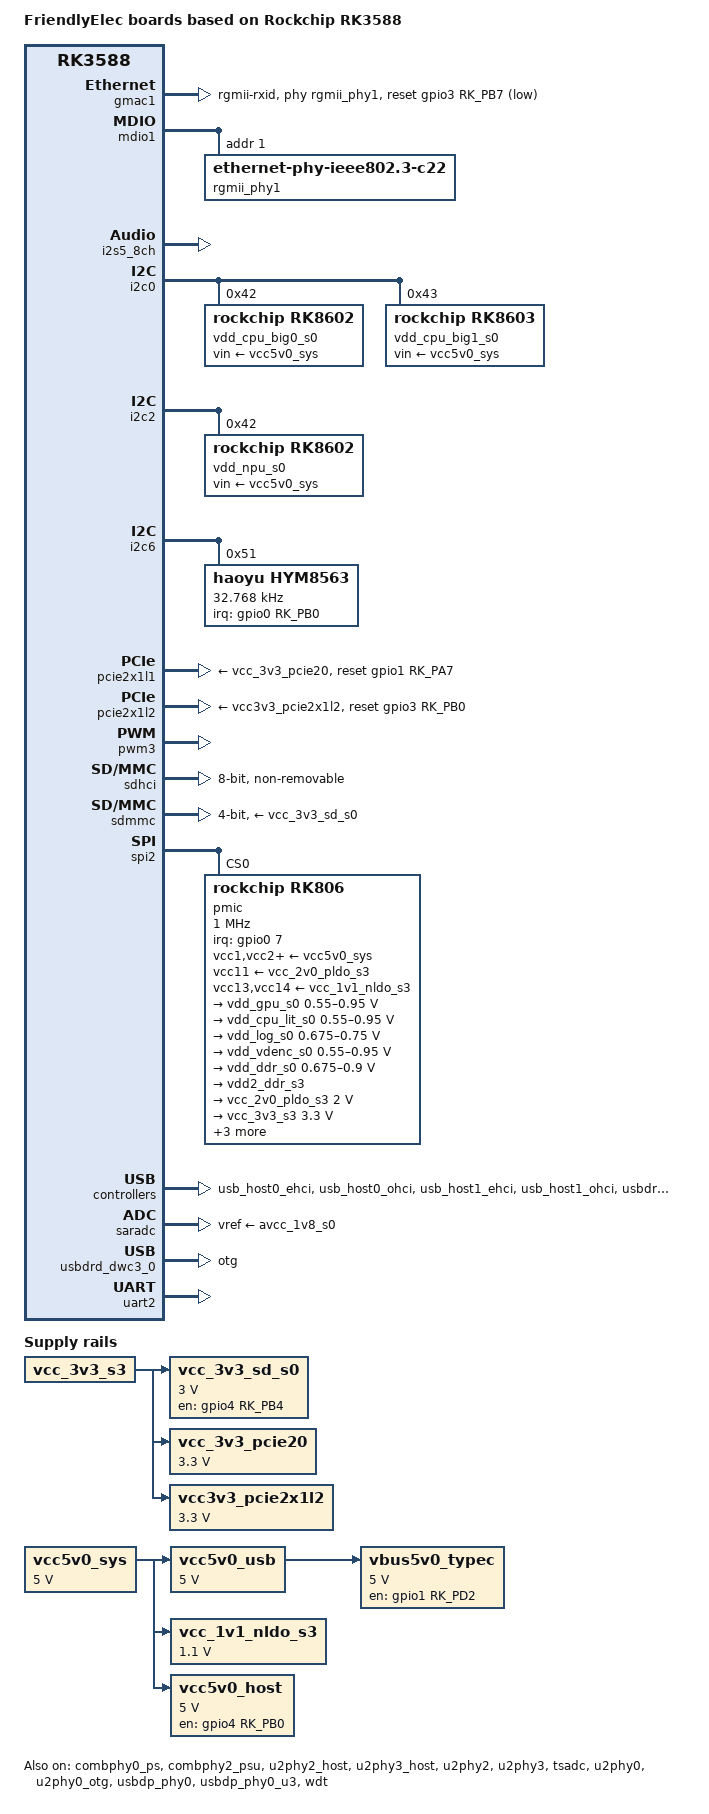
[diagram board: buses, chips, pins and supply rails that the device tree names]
// SPDX-License-Identifier: (GPL-2.0+ OR MIT)
/*
 * Copyright (c) 2022 FriendlyElec Computer Tech. Co., Ltd.
 * (http://www.friendlyelec.com)
 *
 * Copyright (c) 2021 Rockchip Electronics Co., Ltd.
 */

#include <dt-bindings/gpio/gpio.h>
#include <dt-bindings/pwm/pwm.h>
#include <dt-bindings/pinctrl/rockchip.h>
#include <dt-bindings/usb/pd.h>
#include "rk3588s.dtsi"

/ {
	model = "FriendlyElec boards based on Rockchip RK3588";
	compatible = "friendlyelec,nanopi6",
		     "rockchip,rk3588";

	aliases {
		mmc0 = &sdmmc;
		mmc2 = &sdhci;
	};

	chosen: chosen {
		bootargs = "earlycon=uart8250,mmio32,0xfeb50000 console=ttyFIQ0 coherent_pool=1m irqchip.gicv3_pseudo_nmi=0";
	};

	mach: board {
		compatible = "friendlyelec,board";
		machine = "NANOPI6";
		hwrev = <255>;
		model = "NanoPi 6 Series";
		nvmem-cells = <&otp_id>, <&otp_cpu_version>;
		nvmem-cell-names = "id", "cpu-version";
	};

	vcc5v0_sys: vcc5v0-sys {
		compatible = "regulator-fixed";
		regulator-name = "vcc5v0_sys";
		regulator-always-on;
		regulator-boot-on;
		regulator-min-microvolt = <5000000>;
		regulator-max-microvolt = <5000000>;
	};

	vcc5v0_usb: vcc5v0-usb {
		compatible = "regulator-fixed";
		regulator-name = "vcc5v0_usb";
		regulator-always-on;
		regulator-boot-on;
		regulator-min-microvolt = <5000000>;
		regulator-max-microvolt = <5000000>;
		vin-supply = <&vcc5v0_sys>;
	};

	vcc_1v1_nldo_s3: vcc-1v1-nldo-s3 {
		compatible = "regulator-fixed";
		regulator-name = "vcc_1v1_nldo_s3";
		regulator-always-on;
		regulator-boot-on;
		regulator-min-microvolt = <1100000>;
		regulator-max-microvolt = <1100000>;
		vin-supply = <&vcc5v0_sys>;
	};

	vcc_3v3_sd_s0: vcc-3v3-sd-s0-regulator {
		compatible = "regulator-fixed";
		enable-active-high;
		gpio = <&gpio4 RK_PB4 GPIO_ACTIVE_HIGH>;
		pinctrl-names = "default";
		pinctrl-0 = <&sd_s0_pwr>;
		regulator-always-on;
		regulator-boot-on;
		regulator-max-microvolt = <3000000>;
		regulator-min-microvolt = <3000000>;
		regulator-name = "vcc_3v3_sd_s0";
		vin-supply = <&vcc_3v3_s3>;
	};

	vcc_3v3_pcie20: vcc3v3-pcie20 {
		compatible = "regulator-fixed";
		regulator-name = "vcc_3v3_pcie20";
		regulator-always-on;
		regulator-boot-on;
		regulator-min-microvolt = <3300000>;
		regulator-max-microvolt = <3300000>;
		vin-supply = <&vcc_3v3_s3>;
	};

	vbus5v0_typec: vbus5v0-typec {
		compatible = "regulator-fixed";
		enable-active-high;
		gpio = <&gpio1 RK_PD2 GPIO_ACTIVE_HIGH>;
		pinctrl-names = "default";
		pinctrl-0 = <&typec5v_pwren>;
		regulator-name = "vbus5v0_typec";
		regulator-min-microvolt = <5000000>;
		regulator-max-microvolt = <5000000>;
		vin-supply = <&vcc5v0_usb>;
	};

	vcc5v0_host: vcc5v0-host-regulator {
		compatible = "regulator-fixed";
		regulator-name = "vcc5v0_host";
		regulator-boot-on;
		regulator-always-on;
		regulator-min-microvolt = <5000000>;
		regulator-max-microvolt = <5000000>;
		enable-active-high;
		gpio = <&gpio4 RK_PB0 GPIO_ACTIVE_HIGH>;
		pinctrl-names = "default";
		pinctrl-0 = <&vcc5v0_host_en>;
		vin-supply = <&vcc5v0_sys>;
	};

	vcc3v3_pcie2x1l2: vcc3v3-pcie2x1l2 {
		compatible = "regulator-fixed";
		regulator-name = "vcc3v3_pcie2x1l2";
		regulator-min-microvolt = <3300000>;
		regulator-max-microvolt = <3300000>;
		startup-delay-us = <5000>;
		vin-supply = <&vcc_3v3_s3>;
	};

	pwm_backlight: pwm-backlight {
		status = "disabled";
		compatible = "pwm-backlight";
	};

	test-power {
		status = "okay";
	};
};

&combphy0_ps {
	status = "okay";
};

&combphy2_psu {
	status = "okay";
};

&cpu_l0 {
	cpu-supply = <&vdd_cpu_lit_s0>;
	mem-supply = <&vdd_cpu_lit_mem_s0>;
};

&cpu_b0 {
	cpu-supply = <&vdd_cpu_big0_s0>;
	mem-supply = <&vdd_cpu_big0_mem_s0>;
};

&cpu_b2 {
	cpu-supply = <&vdd_cpu_big1_s0>;
	mem-supply = <&vdd_cpu_big1_mem_s0>;
};

&gmac1 {
	/* Use rgmii-rxid mode to disable rx delay inside Soc */
	phy-mode = "rgmii-rxid";
	clock_in_out = "output";

	snps,no-vlhash;
	snps,reset-gpio = <&gpio3 RK_PB7 GPIO_ACTIVE_LOW>;
	snps,reset-active-low;
	/* Reset time is 20ms, 100ms for rtl8211f */
	snps,reset-delays-us = <0 20000 100000>;

	pinctrl-names = "default";
	pinctrl-0 = <&gmac1_miim
		     &gmac1_tx_bus2
		     &gmac1_rx_bus2
		     &gmac1_rgmii_clk
		     &gmac1_rgmii_bus>;

	tx_delay = <0x42>;
	/* rx_delay = <0x4f>; */

	phy-handle = <&rgmii_phy1>;
	status = "okay";
};

&mdio1 {
	rgmii_phy1: phy@1 {
		compatible = "ethernet-phy-ieee802.3-c22";
		reg = <0x1>;
	};
};

&i2s5_8ch {
	status = "okay";
};

&i2c0 {
	status = "okay";
	pinctrl-names = "default";
	pinctrl-0 = <&i2c0m2_xfer>;

	vdd_cpu_big0_s0: vdd_cpu_big0_mem_s0: rk8602@42 {
		compatible = "rockchip,rk8602";
		reg = <0x42>;
		vin-supply = <&vcc5v0_sys>;
		regulator-compatible = "rk860x-reg";
		regulator-name = "vdd_cpu_big0_s0";
		regulator-min-microvolt = <550000>;
		regulator-max-microvolt = <1050000>;
		regulator-ramp-delay = <2300>;
		rockchip,suspend-voltage-selector = <1>;
		regulator-boot-on;
		regulator-always-on;
		regulator-state-mem {
			regulator-off-in-suspend;
		};
	};

	vdd_cpu_big1_s0: vdd_cpu_big1_mem_s0: rk8603@43 {
		compatible = "rockchip,rk8603";
		reg = <0x43>;
		vin-supply = <&vcc5v0_sys>;
		regulator-compatible = "rk860x-reg";
		regulator-name = "vdd_cpu_big1_s0";
		regulator-min-microvolt = <550000>;
		regulator-max-microvolt = <1050000>;
		regulator-ramp-delay = <2300>;
		rockchip,suspend-voltage-selector = <1>;
		regulator-boot-on;
		regulator-always-on;
		regulator-state-mem {
			regulator-off-in-suspend;
		};
	};
};

&i2c2 {
	status = "okay";

	vdd_npu_s0: vdd_npu_mem_s0: rk8602@42 {
		compatible = "rockchip,rk8602";
		reg = <0x42>;
		vin-supply = <&vcc5v0_sys>;
		regulator-compatible = "rk860x-reg";
		regulator-name = "vdd_npu_s0";
		regulator-min-microvolt = <550000>;
		regulator-max-microvolt = <950000>;
		regulator-ramp-delay = <2300>;
		rockchip,suspend-voltage-selector = <1>;
		regulator-boot-on;
		regulator-always-on;
		regulator-state-mem {
			regulator-off-in-suspend;
		};
	};
};

&i2c3 {
	status = "disabled";
};

&i2c4 {
	status = "disabled";
	pinctrl-names = "default";
	pinctrl-0 = <&i2c4m3_xfer>;
};

&i2c5 {
	status = "disabled";
	pinctrl-names = "default";
	pinctrl-0 = <&i2c5m3_xfer>;
};

&i2c6 {
	status = "okay";
	pinctrl-names = "default";
	pinctrl-0 = <&i2c6m0_xfer>;

	hym8563: hym8563@51 {
		compatible = "haoyu,hym8563";
		reg = <0x51>;
		#clock-cells = <0>;
		clock-frequency = <32768>;
		clock-output-names = "hym8563";
		pinctrl-names = "default";
		pinctrl-0 = <&rtc_int>;

		interrupt-parent = <&gpio0>;
		interrupts = <RK_PB0 IRQ_TYPE_LEVEL_LOW>;
		wakeup-source;
	};
};

&i2c7 {
	status = "disabled";
};

&i2c8 {
	status = "disabled";
};

&pcie2x1l1 {
	reset-gpios = <&gpio1 RK_PA7 GPIO_ACTIVE_HIGH>;
	rockchip,init-delay-ms = <100>;
	vpcie3v3-supply = <&vcc_3v3_pcie20>;
	status = "okay";
};

&pcie2x1l2 {
	reset-gpios = <&gpio3 RK_PD1 GPIO_ACTIVE_HIGH>;
	vpcie3v3-supply = <&vcc_3v3_pcie20>;
	status = "okay";
};

&pinctrl {
	hym8563 {
		rtc_int: rtc-int {
			rockchip,pins = <0 RK_PB0 RK_FUNC_GPIO &pcfg_pull_up>;
		};
	};

	sdmmc {
		sd_s0_pwr: sd-s0-pwr {
			rockchip,pins = <4 RK_PB4 RK_FUNC_GPIO &pcfg_pull_up>;
		};
	};

	usb {
		typec5v_pwren: typec5v-pwren {
			rockchip,pins = <1 RK_PD2 RK_FUNC_GPIO &pcfg_pull_none>;
		};

		/omit-if-no-ref/
		usbc0_int: usbc0-int {
			rockchip,pins = <0 RK_PD3 RK_FUNC_GPIO &pcfg_pull_up>;
		};

		vcc5v0_host_en: vcc5v0-host-en {
			rockchip,pins = <4 RK_PB0 RK_FUNC_GPIO &pcfg_pull_none>;
		};
	};
};

&pwm3 {
	compatible = "rockchip,remotectl-pwm";
	pinctrl-names = "default";
	pinctrl-0 = <&pwm3m0_pins>;
	remote_pwm_id = <3>;
	handle_cpu_id = <1>;
	remote_support_psci = <0>;
	status = "okay";

	ir_key1 {
		rockchip,usercode = <0xc43b>;
		/* /system/usr/keylayout/Generic.kl */
		rockchip,key_table =
			<0xff	116>,
			<0xef	105>,
			<0xed	106>,
			<0xf2	103>,
			<0xea	108>,
			<0xee	28>,
			<0xe9	113>,
			<0xf1	115>,
			<0xf3	115>,
			<0xae	139>,
			<0xeb	172>,
			<0xaf	158>,
			<0xf7	204>,
			<0xe5	99>,
			<0xf5	580>;
	};
};


&sdhci {
	bus-width = <8>;
	no-sdio;
	no-sd;
	non-removable;
	max-frequency = <200000000>;
	mmc-hs400-1_8v;
	mmc-hs400-enhanced-strobe;
	full-pwr-cycle-in-suspend;
	status = "okay";
};

&sdmmc {
	max-frequency = <150000000>;
	no-sdio;
	no-mmc;
	bus-width = <4>;
	cap-mmc-highspeed;
	cap-sd-highspeed;
	disable-wp;
	sd-uhs-sdr104;
	vmmc-supply = <&vcc_3v3_sd_s0>;
	vqmmc-supply = <&vccio_sd_s0>;
	pinctrl-names = "default";
	pinctrl-0 = <&sdmmc_bus4 &sdmmc_clk &sdmmc_cmd &sdmmc_det>;
	status = "okay";
};

&spi2 {
	status = "okay";
	assigned-clocks = <&cru CLK_SPI2>;
	assigned-clock-rates = <200000000>;
	pinctrl-names = "default";
	pinctrl-0 = <&spi2m2_cs0 &spi2m2_pins>;
	num-cs = <1>;

	pmic@0 {
		compatible = "rockchip,rk806";
		spi-max-frequency = <1000000>;
		reg = <0x0>;

		interrupt-parent = <&gpio0>;
		interrupts = <7 IRQ_TYPE_LEVEL_LOW>;

		pinctrl-names = "default";
		pinctrl-0 = <&pmic_pins>, <&rk806_dvs1_null>,
			    <&rk806_dvs2_null>, <&rk806_dvs3_null>;

		vcc1-supply = <&vcc5v0_sys>;
		vcc2-supply = <&vcc5v0_sys>;
		vcc3-supply = <&vcc5v0_sys>;
		vcc4-supply = <&vcc5v0_sys>;
		vcc5-supply = <&vcc5v0_sys>;
		vcc6-supply = <&vcc5v0_sys>;
		vcc7-supply = <&vcc5v0_sys>;
		vcc8-supply = <&vcc5v0_sys>;
		vcc9-supply = <&vcc5v0_sys>;
		vcc10-supply = <&vcc5v0_sys>;
		vcc11-supply = <&vcc_2v0_pldo_s3>;
		vcc12-supply = <&vcc5v0_sys>;
		vcc13-supply = <&vcc_1v1_nldo_s3>;
		vcc14-supply = <&vcc_1v1_nldo_s3>;
		vcca-supply = <&vcc5v0_sys>;

		gpio-controller;
		#gpio-cells = <2>;

		rk806_dvs1_null: dvs1-null-pins {
			pins = "gpio_pwrctrl2";
			function = "pin_fun0";
		};

		rk806_dvs2_null: dvs2-null-pins {
			pins = "gpio_pwrctrl2";
			function = "pin_fun0";
		};

		rk806_dvs3_null: dvs3-null-pins {
			pins = "gpio_pwrctrl3";
			function = "pin_fun0";
		};

		regulators {
			vdd_gpu_s0: vdd_gpu_mem_s0: dcdc-reg1 {
				regulator-boot-on;
				regulator-min-microvolt = <550000>;
				regulator-max-microvolt = <950000>;
				regulator-ramp-delay = <12500>;
				regulator-name = "vdd_gpu_s0";
				regulator-enable-ramp-delay = <400>;

				regulator-state-mem {
					regulator-off-in-suspend;
				};
			};

			vdd_cpu_lit_s0: vdd_cpu_lit_mem_s0: dcdc-reg2 {
				regulator-always-on;
				regulator-boot-on;
				regulator-min-microvolt = <550000>;
				regulator-max-microvolt = <950000>;
				regulator-ramp-delay = <12500>;
				regulator-name = "vdd_cpu_lit_s0";

				regulator-state-mem {
					regulator-off-in-suspend;
				};
			};

			vdd_log_s0: dcdc-reg3 {
				regulator-always-on;
				regulator-boot-on;
				regulator-min-microvolt = <675000>;
				regulator-max-microvolt = <750000>;
				regulator-ramp-delay = <12500>;
				regulator-name = "vdd_log_s0";

				regulator-state-mem {
					regulator-off-in-suspend;
					regulator-suspend-microvolt = <750000>;
				};
			};

			vdd_vdenc_s0: vdd_vdenc_mem_s0: dcdc-reg4 {
				regulator-always-on;
				regulator-boot-on;
				regulator-min-microvolt = <550000>;
				regulator-max-microvolt = <950000>;
				regulator-ramp-delay = <12500>;
				regulator-name = "vdd_vdenc_s0";

				regulator-state-mem {
					regulator-off-in-suspend;
				};
			};

			vdd_ddr_s0: dcdc-reg5 {
				regulator-always-on;
				regulator-boot-on;
				regulator-min-microvolt = <675000>;
				regulator-max-microvolt = <900000>;
				regulator-ramp-delay = <12500>;
				regulator-name = "vdd_ddr_s0";

				regulator-state-mem {
					regulator-off-in-suspend;
					regulator-suspend-microvolt = <850000>;
				};
			};

			vdd2_ddr_s3: dcdc-reg6 {
				regulator-always-on;
				regulator-boot-on;
				regulator-name = "vdd2_ddr_s3";

				regulator-state-mem {
					regulator-on-in-suspend;
				};
			};

			vcc_2v0_pldo_s3: dcdc-reg7 {
				regulator-always-on;
				regulator-boot-on;
				regulator-min-microvolt = <2000000>;
				regulator-max-microvolt = <2000000>;
				regulator-ramp-delay = <12500>;
				regulator-name = "vdd_2v0_pldo_s3";

				regulator-state-mem {
					regulator-on-in-suspend;
					regulator-suspend-microvolt = <2000000>;
				};
			};

			vcc_3v3_s3: dcdc-reg8 {
				regulator-always-on;
				regulator-boot-on;
				regulator-min-microvolt = <3300000>;
				regulator-max-microvolt = <3300000>;
				regulator-name = "vcc_3v3_s3";

				regulator-state-mem {
					regulator-on-in-suspend;
					regulator-suspend-microvolt = <3300000>;
				};
			};

			vddq_ddr_s0: dcdc-reg9 {
				regulator-always-on;
				regulator-boot-on;
				regulator-name = "vddq_ddr_s0";

				regulator-state-mem {
					regulator-off-in-suspend;
				};
			};

			vcc_1v8_s3: dcdc-reg10 {
				regulator-always-on;
				regulator-boot-on;
				regulator-min-microvolt = <1800000>;
				regulator-max-microvolt = <1800000>;
				regulator-name = "vcc_1v8_s3";

				regulator-state-mem {
					regulator-on-in-suspend;
					regulator-suspend-microvolt = <1800000>;
				};
			};

			avcc_1v8_s0: pldo-reg1 {
				regulator-always-on;
				regulator-boot-on;
				regulator-min-microvolt = <1800000>;
				regulator-max-microvolt = <1800000>;
				regulator-name = "avcc_1v8_s0";

				regulator-state-mem {
					regulator-off-in-suspend;
				};
			};

			vcc_1v8_s0: pldo-reg2 {
				regulator-always-on;
				regulator-boot-on;
				regulator-min-microvolt = <1800000>;
				regulator-max-microvolt = <1800000>;
				regulator-name = "vcc_1v8_s0";

				regulator-state-mem {
					regulator-off-in-suspend;
					regulator-suspend-microvolt = <1800000>;
				};
			};

			avdd_1v2_s0: pldo-reg3 {
				regulator-always-on;
				regulator-boot-on;
				regulator-min-microvolt = <1200000>;
				regulator-max-microvolt = <1200000>;
				regulator-name = "avdd_1v2_s0";

				regulator-state-mem {
					regulator-off-in-suspend;
				};
			};

			vcc_3v3_s0: pldo-reg4 {
				regulator-always-on;
				regulator-boot-on;
				regulator-min-microvolt = <3300000>;
				regulator-max-microvolt = <3300000>;
				regulator-ramp-delay = <12500>;
				regulator-name = "vcc_3v3_s0";

				regulator-state-mem {
					regulator-off-in-suspend;
				};
			};

			vccio_sd_s0: pldo-reg5 {
				regulator-always-on;
				regulator-boot-on;
				regulator-min-microvolt = <1800000>;
				regulator-max-microvolt = <3300000>;
				regulator-ramp-delay = <12500>;
				regulator-name = "vccio_sd_s0";

				regulator-state-mem {
					regulator-off-in-suspend;
				};
			};

			pldo6_s3: pldo-reg6 {
				regulator-always-on;
				regulator-boot-on;
				regulator-min-microvolt = <1800000>;
				regulator-max-microvolt = <1800000>;
				regulator-name = "pldo6_s3";

				regulator-state-mem {
					regulator-on-in-suspend;
					regulator-suspend-microvolt = <1800000>;
				};
			};

			vdd_0v75_s3: nldo-reg1 {
				regulator-always-on;
				regulator-boot-on;
				regulator-min-microvolt = <750000>;
				regulator-max-microvolt = <750000>;
				regulator-name = "vdd_0v75_s3";

				regulator-state-mem {
					regulator-on-in-suspend;
					regulator-suspend-microvolt = <750000>;
				};
			};

			vdd_ddr_pll_s0: nldo-reg2 {
				regulator-always-on;
				regulator-boot-on;
				regulator-min-microvolt = <850000>;
				regulator-max-microvolt = <850000>;
				regulator-name = "vdd_ddr_pll_s0";

				regulator-state-mem {
					regulator-off-in-suspend;
					regulator-suspend-microvolt = <850000>;
				};
			};

			avdd_0v75_s0: nldo-reg3 {
				regulator-always-on;
				regulator-boot-on;
				regulator-min-microvolt = <750000>;
				regulator-max-microvolt = <750000>;
				regulator-name = "avdd_0v75_s0";

				regulator-state-mem {
					regulator-off-in-suspend;
				};
			};

			vdd_0v85_s0: nldo-reg4 {
				regulator-always-on;
				regulator-boot-on;
				regulator-min-microvolt = <850000>;
				regulator-max-microvolt = <850000>;
				regulator-name = "vdd_0v85_s0";

				regulator-state-mem {
					regulator-off-in-suspend;
				};
			};

			vdd_0v75_s0: nldo-reg5 {
				regulator-always-on;
				regulator-boot-on;
				regulator-min-microvolt = <750000>;
				regulator-max-microvolt = <750000>;
				regulator-name = "vdd_0v75_s0";

				regulator-state-mem {
					regulator-off-in-suspend;
				};
			};
		};
	};
};

&u2phy2_host {
	/* connected to USB hub, which is powered by vcc5v0_sys */
	phy-supply = <&vcc5v0_sys>;
	status = "okay";
};

&u2phy3_host {
	phy-supply = <&vcc5v0_host>;
	status = "okay";
};

&u2phy2 {
	status = "okay";
};

&u2phy3 {
	status = "okay";
};

&usb_host0_ehci {
	status = "okay";
};

&usb_host0_ohci {
	status = "okay";
};

&usb_host1_ehci {
	status = "okay";
};

&usb_host1_ohci {
	status = "okay";
};

&combphy0_ps {
	status = "okay";
};

&pcie2x1l2 {
	reset-gpios = <&gpio3 RK_PB0 GPIO_ACTIVE_HIGH>;
	vpcie3v3-supply = <&vcc3v3_pcie2x1l2>;
	status = "okay";

};

&avcc_1v8_s0 {
	regulator-state-mem {
		regulator-on-in-suspend;
		regulator-suspend-microvolt = <1800000>;
	};
};

&vdd_log_s0 {
	regulator-state-mem {
		regulator-on-in-suspend;
		regulator-suspend-microvolt = <750000>;
	};
};

&saradc {
	status = "okay";
	vref-supply = <&avcc_1v8_s0>;
};

&tsadc {
	status = "okay";
};

&u2phy0 {
	status = "okay";
};

&u2phy0_otg {
	status = "okay";
};

&usbdp_phy0 {
	status = "okay";
};

&usbdp_phy0_u3 {
	status = "okay";
};

&usbdrd3_0 {
	status = "okay";
};

&usbdrd_dwc3_0 {
	dr_mode = "otg";
	extcon = <&u2phy0>;
	snps,xhci-trb-ent-quirk;
	status = "okay";
};

&usbhost3_0 {
	status = "disabled";
};

&usbhost_dwc3_0 {
	status = "disabled";
};

&wdt {
	status = "okay";
};

&uart2 {
       pinctrl-0 = <&uart2m0_xfer>;
       status = "okay";
};
